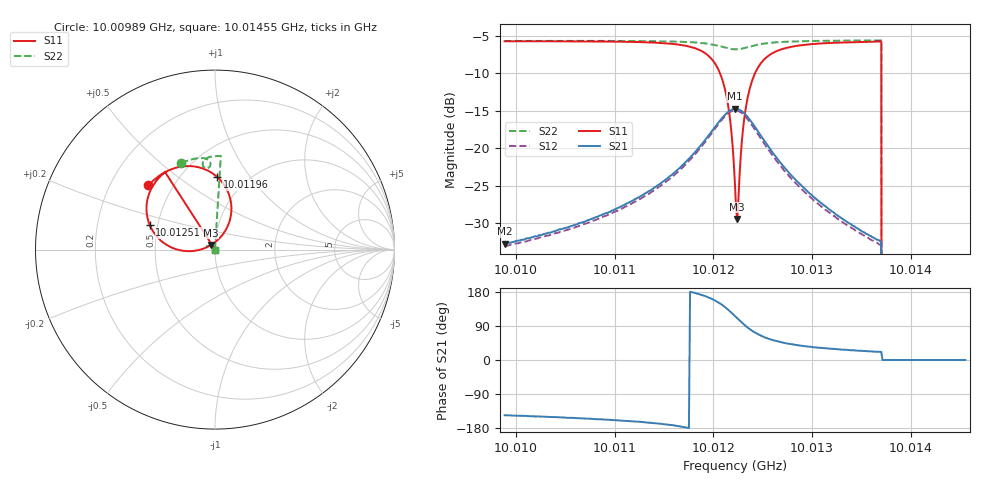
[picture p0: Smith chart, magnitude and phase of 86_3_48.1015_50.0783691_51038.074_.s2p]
#  HZ  S  RI  R  50.00
! Rohde & Schwarz Vector Network Analyzer
! Rohde-Schwarz,ZNB20-2Port,1311601062101988,3.16
! Created: UTC 12/23/2023, 3:43:17 AM
! freq[Hz]  re:S11  im:S11  re:S21  im:S21  re:S12  im:S12  re:S22  im:S22
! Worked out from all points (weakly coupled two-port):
!   401 points, 10.00989 GHz to 10.01455 GHz, reference 50 ohm
!   highest |S21| = -14.74 dB at 10.01222 GHz (marker M1); lowest = -32.7 dB at 10.00989 GHz (marker M2)
!   lowest |S11| = -29.4 dB at 10.01224 GHz (marker M3), VSWR 1.07, Z = 47.7 + j2.4 ohm
!   |S11| at or under -10 dB: 10.01207 GHz to 10.01242 GHz (355.8 kHz wide, 0.00355 % of centre); 10.0137 GHz to end of sweep
!   |S22| runs from - to -5.6 dB; largest |S21 - S12| = 0.0085
!   S11 on the Smith chart (normalised r, x): 10.00989 GHz: 0.37, +0.36; 10.01196 GHz: 0.73, +0.71; 10.01251 GHz: 0.45, +0.15; 10.01455 GHz: 1.00, +0.00
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1.0009886e10  -0.3713 0.3583  -0.0191 -0.013  -0.0178 -0.0133  -0.1885 0.4833
1.0010668e10  -0.3157 0.4073  -0.0287 -0.014  -0.0271 -0.0149  -0.1384 0.5004
1.001145e10  -0.2097 0.4581  -0.0561 -0.0121  -0.0533 -0.0145  -0.0809 0.5102
1.0011788e10  -0.0963 0.4596  -0.0898 0.00226  -0.0868 -0.00252  -0.0494 0.5059
1.0011963e10  0.0107 0.406  -0.1193 0.0344  -0.1176 0.0276  -0.0313 0.4936
1.0012057e10  0.0724 0.3209  -0.1308 0.0726  -0.1312 0.0645  -0.0251 0.4797
1.0012127e10  0.0912 0.215  -0.1257 0.113  -0.1278 0.1048  -0.027 0.4664
1.0012173e10  0.0708 0.1309  -0.1084 0.1422  -0.1116 0.1346  -0.0334 0.4584
1.0012197e10  0.0476 0.0903  -0.0954 0.1547  -0.0987 0.1477  -0.0378 0.4555
1.001222e10  0.0162 0.0544  -0.0798 0.1648  -0.0838 0.1579  -0.0432 0.4539
1.0012243e10  -0.0226 0.0251  -0.0629 0.1713  -0.0668 0.1649  -0.0485 0.4536
1.0012255e10  -0.0442 0.0134  -0.0537 0.1735  -0.0579 0.167  -0.0512 0.454
1.0012302e10  -0.1343 -0.00875  -0.018 0.1728  -0.0216 0.1671  -0.0607 0.4588
1.0012348e10  -0.2176 0.00232  0.0126 0.1609  0.00687 0.1556  -0.0667 0.4669
1.0012418e10  -0.3063 0.0544  0.0407 0.1337  0.0353 0.1293  -0.069 0.4799
1.0012512e10  -0.3636 0.1371  0.0554 0.0989  0.0496 0.0964  -0.064 0.4937
1.0012722e10  -0.3788 0.266  0.0527 0.0525  0.0479 0.052  -0.0447 0.5102
1.0013002e10  -0.3496 0.3496  0.0399 0.0272  0.0367 0.0276  -0.02 0.5182
1.0013679e10  -0.2803 0.4306  0.0226 0.00894  0.0208 0.00941  0.031 0.5217
1.0013737e10  0 0  0 0  0 0  0 0
1.0013784e10  0 0  0 0  0 0  0 0
1.0014554e10  0 0  0 0  0 0  0 0
